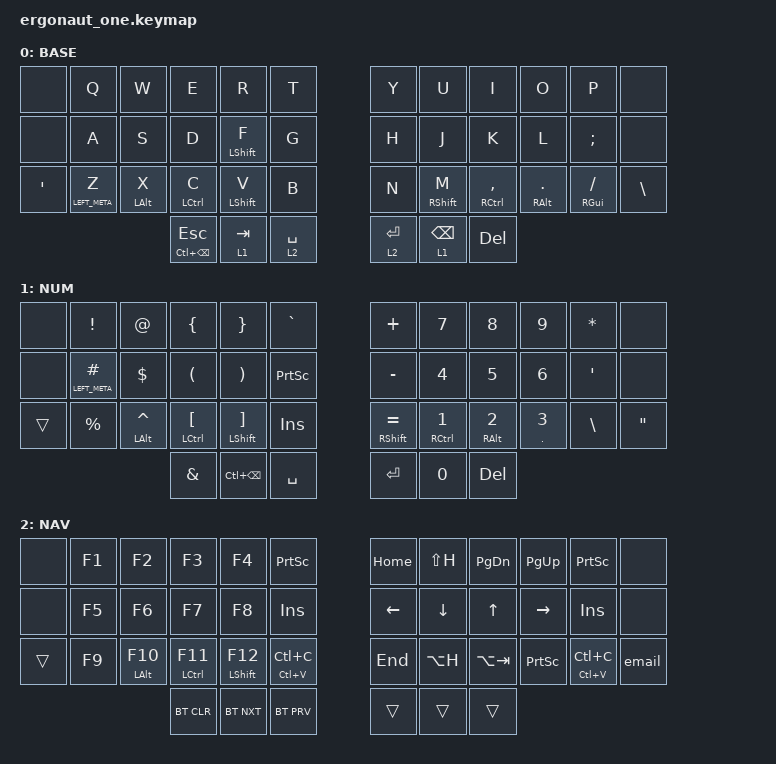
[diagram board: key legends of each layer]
#include <behaviors.dtsi>
#include <dt-bindings/zmk/keys.h>
#include <dt-bindings/zmk/bt.h>

#define DEF 0
#define LWR 1
#define RSE 2
#define ADJ 3

&mt {
  quick-tap-ms = <100>;
  global-quick-tap;
  flavor = "tap-preferred";
  tapping-term-ms = <170>;
};

&sk {
    ignore-modifiers;
};

/ {
     behaviors {
            hm: homerow_mods {
                compatible = "zmk,behavior-hold-tap";
                label = "HOMEROW_MODS";
                bindings = <&kp>, <&kp>;

                #binding-cells = <2>;
                tapping-term-ms = <200>;
                flavor = "tap-preferred";
                require-prior-idle-ms = <125>;
                quick-tap-ms = <200>;
            };

            shifthr: shifthr {
                compatible = "zmk,behavior-hold-tap";
                label = "SHIFTHR";
                bindings = <&kp>, <&kp>;

                #binding-cells = <2>;
                tapping-term-ms = <185>;
                flavor = "tap-preferred";
                quick-tap-ms = <185>;
            };

            weak: weak {
                compatible = "zmk,behavior-hold-tap";
                label = "WEAK";
                bindings = <&kp>, <&kp>;

                #binding-cells = <2>;
                tapping-term-ms = <230>;
                flavor = "tap-preferred";
                require-prior-idle-ms = <125>;
                quick-tap-ms = <230>;
            };

            backspace: backspace {
                compatible = "zmk,behavior-tap-dance";
                label = "BACKSPACE";
                #binding-cells = <0>;
                bindings = <&kp BACKSPACE>, <&kp LC(BACKSPACE)>;
            };
        };
    
    combos {
        compatible = "zmk,combos";
            combo_grave {
                timeout-ms = <50>;
                key-positions = <1 2>;
                bindings = <&kp GRAVE>;
            };
            combo_esc {
                timeout-ms = <50>;
                key-positions = <2 3>;
                bindings = <&kp ESC>;
            };           
            combo_lpar {
                timeout-ms = <50>;
                key-positions = <3 4>;
                bindings = <&kp LPAR>;
            };           
            combo_rpar {
                timeout-ms = <50>;
                key-positions = <4 5>;
                bindings = <&kp RPAR>;
            };           
            combo_caps {
                timeout-ms = <50>;
                key-positions = <14 15>;
                bindings = <&kp CAPS>;
            }; 
            combo_lbkt {
                timeout-ms = <50>;
                key-positions = <15 16>;
                bindings = <&kp LBKT>;
            };
            combo_rbkt {
                timeout-ms = <50>;
                key-positions = <16 17>;
                bindings = <&kp RBKT>;
            };
            combo_lbrc {
                timeout-ms = <50>;
                key-positions = <27 28>;
                bindings = <&kp LBRC>;
            };
            combo_rbrc {
                timeout-ms = <50>;
                key-positions = <28 29>;
                bindings = <&kp RBRC>;
            };
            combo_bspc {
		        timeout-ms = <50>;
		        key-positions = <8 9>;
		        bindings = <&kp BSPC>;
	        };
   };

   marcos {
        save: save {
            compatible = "zmk,behavior-macro";
            #binding-cells = <0>;
            bindings = <&macro_tap>, <&kp ESCAPE &kp COLON &kp W &kp ENTER>;

            label = "SAVE";
        };

        email: email {
            compatible = "zmk,behavior-macro";
            #binding-cells = <0>;
            bindings = <&macro_tap>, <&kp Z &kp H &kp A &kp N &kp G &kp Z &kp Q &kp N7 &kp N1 &kp AT &kp H &kp O &kp T &kp M &kp A &kp I &kp L &kp DOT &kp C &kp O &kp M>;
            label = "EMAIL";
        };
   };

    keymap {
        compatible = "zmk,keymap";
                base_layer {
                    label= "BASE";
                    bindings = <
&none   &kp Q              &kp W             &kp E                     &kp R                  &kp T        &kp Y        &kp U              &kp I                &kp O               &kp P                &none
&none   &kp A              &kp S             &kp D                     &shifthr LEFT_SHIFT F  &kp G        &kp H        &kp J              &kp K                &kp L               &kp SEMICOLON        &none
&kp SQT &weak LEFT_META Z  &weak LEFT_ALT X  &shifthr LEFT_CONTROL C   &mt LSHFT V            &kp B        &kp N        &shifthr RSHIFT M  &shifthr RCTRL COMMA &weak RIGHT_ALT DOT &weak RGUI FSLH      &kp BSLH
                                            &hm LC(BACKSPACE) ESCAPE  &lt 1 TAB              &lt 2 SPACE  &lt 2 ENTER  &lt 1 BACKSPACE    &kp DEL
                        >;
                };

                num_layer {
                    label= "NUM";
                    bindings = <
&none  &kp EXCL            &kp AT               &kp LEFT_BRACE              &kp RIGHT_BRACE                   &kp GRAVE    &kp PLUS         &kp NUMBER_7        &kp N8             &kp N9                    &kp ASTERISK &none 
&none  &hm LEFT_META HASH  &kp DOLLAR           &kp LEFT_PARENTHESIS        &kp RIGHT_PARENTHESIS             &kp PSCRN    &kp MINUS        &kp NUMBER_4        &kp NUMBER_5       &kp NUMBER_6              &kp SQT      &none 
&trans &kp PERCENT         &hm LEFT_ALT CARET   &hm LCTRL LEFT_BRACKET      &hm LEFT_SHIFT RIGHT_BRACKET      &kp INS      &hm RSHFT EQUAL  &hm RCTRL NUMBER_1  &hm RALT NUMBER_2  &shifthr DOT NUMBER_3  &kp BACKSLASH  &kp DQT
                                                &kp AMPS                    &kp LC(BACKSPACE)                 &kp SPACE    &kp RET    &kp N0     &kp DEL
                        >;
                };

                nav_layer {
                    label= "NAV";
                        bindings = <
&none  &kp F1            &kp F2           &kp F3        &kp F4        &kp PSCRN             &kp HOME           &kp LS(H)       &kp PAGE_DOWN  &kp PG_UP     &kp PSCRN          &none
&none  &kp F5            &kp F6           &kp F7        &kp F8        &kp INS               &kp LEFT_ARROW     &kp DOWN        &kp UP_ARROW   &kp RIGHT     &kp INS            &none
&trans &kp F9            &hm LALT F10     &hm LCTRL F11 &hm LSHFT F12 &hm LC(V) LC(C)       &kp END            &kp LA(H)       &kp LA(TAB)    &kp PSCRN     &hm LC(V) LC(C)    &email
                                           &bt BT_CLR    &bt BT_NXT    &bt BT_PRV          &trans             &trans         &trans
                        >;
                };

   };
};
